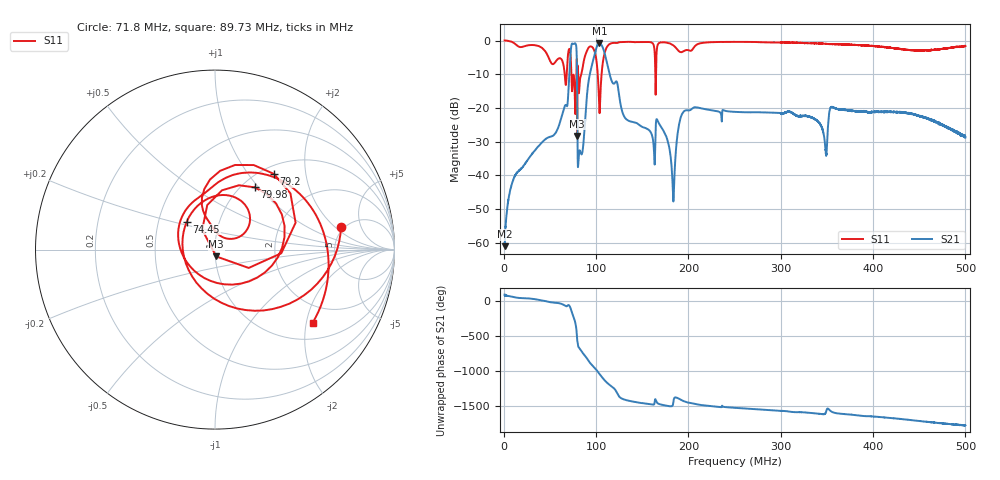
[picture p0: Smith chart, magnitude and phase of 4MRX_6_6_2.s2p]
! NanoVNA-App
! Date: 2026-08-19 17:55:37
! Start: 1MHz Stop: 500MHz Points: 6401
! S-Parameter data: F S11 S21 S12 S22
# Hz S RI R 50
!  Frequency  S11_Real  S11_Imag  S21_Real  S21_Imag  S12_Real  S12_Imag  S22_Real  S22_Imag
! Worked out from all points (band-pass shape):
!   6401 points, 1 MHz to 500 MHz, reference 50 ohm
!   highest |S21| = -0.79 dB at 103.7 MHz (marker M1); lowest = -60.9 dB at 1.156 MHz (marker M2)
!   |S21| within 3 dB of the highest: 72.46 MHz to 79 MHz (6.538 MHz wide, 8.63 % of centre); 98.76 MHz to 109.3 MHz (10.56 MHz wide, 10.2 % of centre)
!   lowest |S11| = -28.3 dB at 79.59 MHz (marker M3), VSWR 1.08, Z = 50.5 - j3.86 ohm
!   |S11| at or under -10 dB: 73.3 MHz to 78.77 MHz (5.468 MHz wide, 7.19 % of centre); 80.65 MHz to 84 MHz (3.356 MHz wide, 4.08 % of centre); 101.9 MHz to 106 MHz (4.14 MHz wide, 3.98 % of centre)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
!   S12 and S22 are empty: the file has one direction only
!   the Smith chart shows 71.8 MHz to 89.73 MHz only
!   S11 on the Smith chart (normalised r, x): 71.8 MHz: 4.68, +2.44; 74.45 MHz: 0.70, +0.23; 79.2 MHz: 1.13, +1.34; 79.98 MHz: 1.14, +0.95; 89.73 MHz: 1.44, -2.18
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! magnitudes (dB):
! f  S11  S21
! 1 MHz  0.0  -60.4
! 1.156 MHz  0.0  -60.9
! 10.75 MHz  -0.7  -41.0
! 57.45 MHz  -5.8  -26.8
! 71.8 MHz  -2.9  -6.5
! 74.45 MHz  -13.1  -0.9
! 79.2 MHz  -5.4  -5.9
! 79.59 MHz  -28.3  -15.9
! 79.98 MHz  -7.7  -31.6
! 84.19 MHz  -9.8  -33.7
! 89.73 MHz  -3.3  -17.7
! 103.7 MHz  -21.2  -0.8
! 111.9 MHz  -1.9  -6.7
! 131.8 MHz  -0.4  -23.1
! 167.4 MHz  -1.0  -24.2
! 183.4 MHz  -1.4  -46.3
! 195.1 MHz  -3.1  -21.0
! 250.5 MHz  -0.4  -21.1
! 333.7 MHz  -0.8  -22.8
! 348.4 MHz  -1.0  -31.6
! 416.9 MHz  -2.1  -21.1
! 500 MHz  -1.7  -28.7
